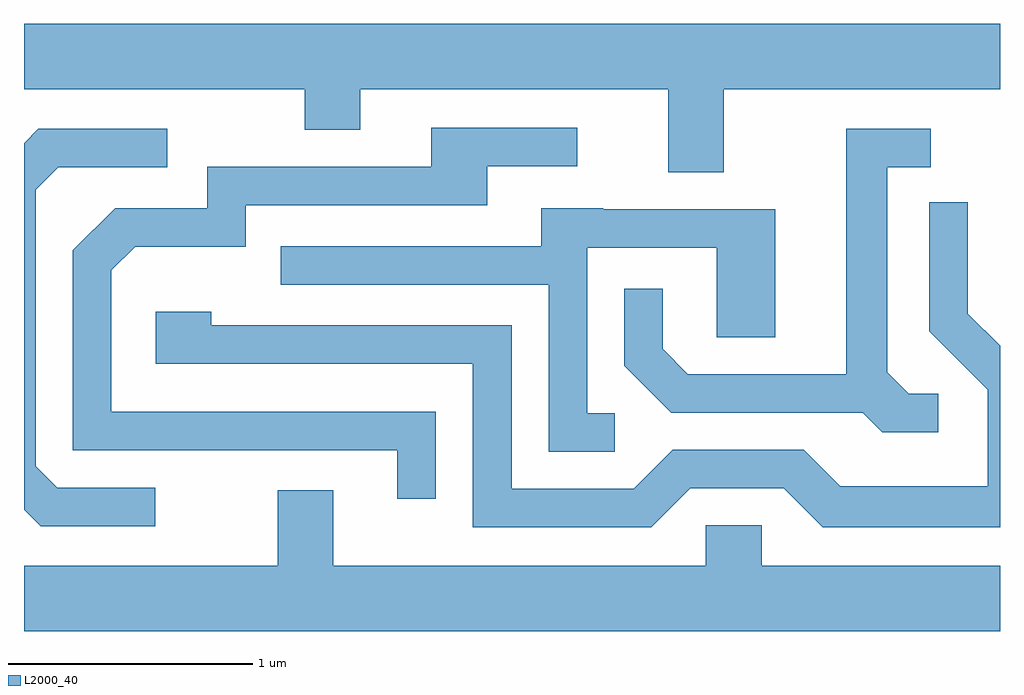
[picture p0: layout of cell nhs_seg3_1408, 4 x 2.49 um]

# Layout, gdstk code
import gdstk
lib = gdstk.Library(unit=1e-6, precision=1e-09)
def P(c, l, *ps):  # polygons
    for p in ps: c.add(gdstk.Polygon(p, *l))
L2000_40 = (2000, 40)

nhs_seg3_1408 = lib.new_cell('nhs_seg3_1408')
P(nhs_seg3_1408, L2000_40, [(228.479,1214.816),(229.611,1214.816),(229.611,1215.084),(225.611,1215.084),(225.611,1214.816),(226.761,1214.816),(226.761,1214.651),(226.989,1214.651),(226.989,1214.816),(228.251,1214.816),(228.251,1214.476),(228.479,1214.476)],
  [(227.299,1213.494),(225.969,1213.494),(225.969,1214.074),(226.067,1214.171),(226.519,1214.171),(226.519,1214.341),(227.509,1214.341),(227.509,1214.501),(227.878,1214.501),(227.878,1214.659),(227.281,1214.659),(227.281,1214.499),(226.361,1214.499),(226.361,1214.329),(225.984,1214.329),(225.811,1214.157),(225.811,1213.336),(227.141,1213.336),(227.141,1213.138),(227.299,1213.138)],
  [(229.358,1213.569),(229.237,1213.569),(229.149,1213.657),(229.149,1214.496),(229.328,1214.496),(229.328,1214.654),(228.981,1214.654),(228.981,1213.649),(228.332,1213.649),(228.229,1213.752),(228.229,1213.998),(228.071,1213.998),(228.071,1213.684),(228.264,1213.491),(229.049,1213.491),(229.129,1213.411),(229.358,1213.411)],
  [(226.148,1213.184),(225.747,1213.184),(225.659,1213.272),(225.659,1214.404),(225.752,1214.496),(226.198,1214.496),(226.198,1214.654),(225.669,1214.654),(225.611,1214.596),(225.611,1213.094),(225.679,1213.026),(226.148,1213.026)],
  [(228.342,1213.181),(228.724,1213.181),(228.884,1213.021),(229.611,1213.021),(229.611,1213.765),(229.479,1213.897),(229.479,1214.353),(229.321,1214.353),(229.321,1213.824),(229.561,1213.584),(229.561,1213.189),(228.957,1213.189),(228.807,1213.339),(228.269,1213.339),(228.109,1213.179),(227.609,1213.179),(227.609,1213.849),(226.379,1213.849),(226.379,1213.904),(226.151,1213.904),(226.151,1213.691),(227.451,1213.691),(227.451,1213.021),(228.182,1213.021)],
  [(228.033,1213.489),(227.919,1213.489),(227.919,1214.166),(228.451,1214.166),(228.451,1213.801),(228.689,1213.801),(228.689,1214.324),(227.985,1214.324),(227.985,1214.329),(227.731,1214.329),(227.731,1214.174),(226.663,1214.174),(226.663,1214.016),(227.761,1214.016),(227.761,1213.331),(228.033,1213.331)],
  [(229.611,1212.864),(228.634,1212.864),(228.634,1213.029),(228.406,1213.029),(228.406,1212.864),(226.879,1212.864),(226.879,1213.174),(226.651,1213.174),(226.651,1212.864),(225.611,1212.864),(225.611,1212.596),(229.611,1212.596)])

lib.write_gds('nhs_seg3_1408.gds')
